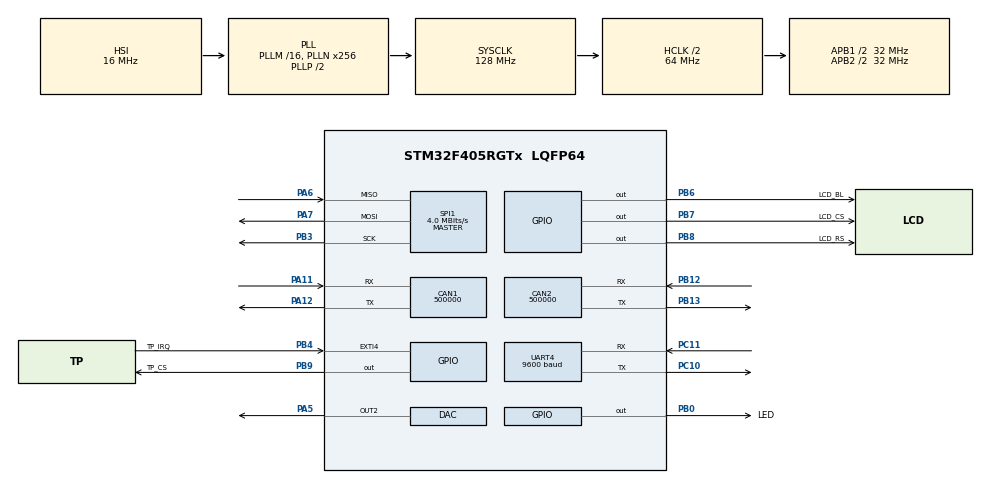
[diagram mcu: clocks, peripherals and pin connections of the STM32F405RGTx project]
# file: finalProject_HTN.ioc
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ADC1.Channel-0\#ChannelRegularConversion=ADC_CHANNEL_TEMPSENSOR
ADC1.NbrOfConversionFlag=1
ADC1.Rank-0\#ChannelRegularConversion=1
ADC1.SamplingTime-0\#ChannelRegularConversion=ADC_SAMPLETIME_480CYCLES
ADC1.master=1
CAN1.BS1=CAN_BS1_2TQ
CAN1.CalculateBaudRate=500000
CAN1.CalculateTimeBit=2000
CAN1.CalculateTimeQuantum=500.0
CAN2.BS1=CAN_BS1_2TQ
CAN2.CalculateBaudRate=500000
CAN2.CalculateTimeBit=2000
CAN2.CalculateTimeQuantum=500.0
FREERTOS.Tasks01=Task01_Display,24,512,StartTask01_Display,Default,NULL,Dynamic,NULL,NULL;Task02_Touch,24,256,StartTask02_Touch,Default,NULL,Dynamic,NULL,NULL;Task_LED,9,128,StartTask_LED,Default,NULL,Dynamic,NULL,NULL;Task_CAN,9,256,StartTask_CAN,Default,NULL,Dynamic,NULL,NULL;Task_DispCAN,9,256,StartTask_DispCAN,Default,NULL,Dynamic,NULL,NULL;Task_DAC,9,256,StartTask_DAC,Default,NULL,Dynamic,NULL,NULL
FREERTOS.configENABLE_FPU=1
FREERTOS.configUSE_TICKLESS_IDLE=2
Mcu.Family=STM32F4
Mcu.Name=STM32F405RGTx
Mcu.Package=LQFP64
NVIC.CAN1_RX0_IRQn=true\:5\:0\:false\:false\:true\:true\:true\:true\:true
NVIC.CAN1_RX1_IRQn=true\:5\:0\:false\:false\:true\:true\:true\:true\:true
NVIC.CAN1_TX_IRQn=true\:5\:0\:false\:false\:true\:true\:true\:true\:true
NVIC.CAN2_RX0_IRQn=true\:5\:0\:false\:false\:true\:true\:true\:true\:true
NVIC.CAN2_RX1_IRQn=true\:5\:0\:false\:false\:true\:true\:true\:true\:true
NVIC.CAN2_TX_IRQn=true\:5\:0\:false\:false\:true\:true\:true\:true\:true
NVIC.EXTI4_IRQn=true\:5\:0\:false\:false\:true\:true\:true\:true\:true
NVIC.PVD_IRQn=true\:5\:0\:false\:false\:true\:true\:true\:true\:true
NVIC.PriorityGroup=NVIC_PRIORITYGROUP_4
NVIC.TIM2_IRQn=true\:15\:0\:false\:false\:true\:false\:false\:true\:true
NVIC.TimeBase=TIM2_IRQn
NVIC.TimeBaseIP=TIM2
PA0-WKUP.Mode=SYS_WakeUp0
PA0-WKUP.Signal=SYS_WKUP
PA11.Mode=CAN_Activate
PA11.Signal=CAN1_RX
PA12.Mode=CAN_Activate
PA12.Signal=CAN1_TX
PA13.Mode=Serial_Wire
PA13.Signal=SYS_JTMS-SWDIO
PA14.Mode=Serial_Wire
PA14.Signal=SYS_JTCK-SWCLK
PA5.Signal=COMP_DAC2_group
PA6.Mode=Full_Duplex_Master
PA6.Signal=SPI1_MISO
PA7.Mode=Full_Duplex_Master
PA7.Signal=SPI1_MOSI
PB0.GPIO_Label=LED
PB0.GPIO_Speed=GPIO_SPEED_FREQ_MEDIUM
PB0.Signal=GPIO_Output
PB12.Mode=CAN_Activate
PB12.Signal=CAN2_RX
PB13.Mode=CAN_Activate
PB13.Signal=CAN2_TX
PB3.Mode=Full_Duplex_Master
PB3.Signal=SPI1_SCK
PB4.GPIO_Label=TP_IRQ
PB4.GPIO_ModeDefaultEXTI=GPIO_MODE_IT_FALLING
PB4.GPIO_PuPd=GPIO_PULLUP
PB4.Signal=GPXTI4
PB6.GPIO_Label=LCD_BL
PB6.GPIO_Speed=GPIO_SPEED_FREQ_MEDIUM
PB6.PinState=GPIO_PIN_SET
PB6.Signal=GPIO_Output
PB7.GPIO_Label=LCD_CS
PB7.GPIO_Speed=GPIO_SPEED_FREQ_VERY_HIGH
PB7.Signal=GPIO_Output
PB8.GPIO_Label=LCD_RS
PB8.GPIO_Speed=GPIO_SPEED_FREQ_VERY_HIGH
PB8.Signal=GPIO_Output
PB9.GPIO_Label=TP_CS
PB9.Signal=GPIO_Output
PC10.Mode=Asynchronous
PC10.Signal=UART4_TX
PC11.Mode=Asynchronous
PC11.Signal=UART4_RX
PH0-OSC_IN.Mode=HSE-External-Oscillator
PH0-OSC_IN.Signal=RCC_OSC_IN
PH1-OSC_OUT.Mode=HSE-External-Oscillator
PH1-OSC_OUT.Signal=RCC_OSC_OUT
ProjectManager.HeapSize=0x200
ProjectManager.StackSize=0x400
ProjectManager.TargetToolchain=STM32CubeIDE
RCC.48MHZClocksFreq_Value=64000000
RCC.AHBCLKDivider=RCC_SYSCLK_DIV2
RCC.AHBFreq_Value=64000000
RCC.APB1CLKDivider=RCC_HCLK_DIV2
RCC.APB1Freq_Value=32000000
RCC.APB1TimFreq_Value=64000000
RCC.APB2CLKDivider=RCC_HCLK_DIV2
RCC.APB2Freq_Value=32000000
RCC.APB2TimFreq_Value=64000000
RCC.CortexFreq_Value=64000000
RCC.HCLKFreq_Value=64000000
RCC.HSE_VALUE=25000000
RCC.HSI_VALUE=16000000
RCC.LSE_VALUE=32768
RCC.PLLN=256
RCC.SYSCLKFreq_VALUE=128000000
RCC.SYSCLKSource=RCC_SYSCLKSOURCE_PLLCLK
RCC.VCOOutputFreq_Value=256000000
SH.COMP_DAC2_group.0=DAC_OUT2,DAC_OUT2
SPI1.BaudRatePrescaler=SPI_BAUDRATEPRESCALER_8
SPI1.CLKPhase=SPI_PHASE_2EDGE
SPI1.CLKPolarity=SPI_POLARITY_HIGH
SPI1.CRCCalculation=SPI_CRCCALCULATION_DISABLE
SPI1.CalculateBaudRate=4.0 MBits/s
SPI1.Direction=SPI_DIRECTION_2LINES
SPI1.Mode=SPI_MODE_MASTER
SPI1.VirtualType=VM_MASTER
UART4.BaudRate=9600
UART4.VirtualMode=Asynchronous
VP_ADC1_TempSens_Input.Mode=IN-TempSens
VP_FREERTOS_VS_CMSIS_V2.Mode=CMSIS_V2
VP_SYS_VS_tim2.Mode=TIM2
board=custom

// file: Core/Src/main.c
/* USER CODE BEGIN Header */
/**
  ******************************************************************************
  * @file           : main.c
  * @brief          : Main program body
  ******************************************************************************
  * @attention
  *
  * Copyright (c) 2025 STMicroelectronics.
  * All rights reserved.
  *
  * This software is licensed under terms that can be found in the LICENSE file
  * in the root directory of this software component.
  * If no LICENSE file comes with this software, it is provided AS-IS.
  *
  ******************************************************************************
  */
/* USER CODE END Header */
#include "main.h"
#include "cmsis_os.h"

/* USER CODE BEGIN Includes */
#include "string.h"
#include "stdio.h"
#include "LCD_Driver.h"
#include <math.h>
#include "Touch.h"
#include <stdbool.h>

/* USER CODE END Includes */

/* USER CODE BEGIN PD */
// MADCTL options for ST7789:
#define SCREEN_W    240
#define SCREEN_H    320
#define ADC_MAX     4095

#define MADCTL_PORTRAIT        0x00
#define MADCTL_LANDSCAPE       0x60
#define MADCTL_INV_PORTRAIT    0xC0
#define MADCTL_INV_LANDSCAPE   0xA0

#define GROUP_ID "13" // define Group ID
// Button :[NEXT]
static uint16_t btnX = 80;
static uint16_t btnY = 250;
static uint16_t btnW = 80;
static uint16_t btnH = 40;
// zone : [Nhom 13]
#define GROUP_BOX_X   10
#define GROUP_BOX_Y   10
#define GROUP_BOX_W   145
#define GROUP_BOX_H   30

// Touch zone : task2-01
#define ZONE0_X1  20
#define ZONE0_Y1  50
#define ZONE_W    90
#define ZONE_H    70
// Touch zone : task2-02
#define ZONE1_X1  130
#define ZONE1_Y1  50
// Touch zone : task2-03
#define ZONE2_X1  20
#define ZONE2_Y1  140
// Touch zone : task2-04
#define ZONE3_X1  130
#define ZONE3_Y1  140

// button [BACK]
#define BACK_W   70
#define BACK_H   30
#define BACK_X   160
#define BACK_Y   280

//-------------------------------
//Debug touch
#define TOUCH_XFAC   (-0.070588f)
#define TOUCH_XOFF   (265)
#define TOUCH_YFAC   (-0.094117f)
#define TOUCH_YOFF   (355)
//DAC___TONE
#define NOTE_C4  262U
#define NOTE_D4  294U
#define NOTE_E4  330U
#define NOTE_F4  349U
#define NOTE_G4  392U
#define NOTE_A4  440U
#define NOTE_B4  494U
#define NOTE_C5  523U

/* USER CODE END PD */

ADC_HandleTypeDef hadc1;

CAN_HandleTypeDef hcan1;
CAN_HandleTypeDef hcan2;

DAC_HandleTypeDef hdac;

SPI_HandleTypeDef hspi1;

UART_HandleTypeDef huart4;

/* Definitions for Task01_Display */
osThreadId_t Task01_DisplayHandle;
const osThreadAttr_t Task01_Display_attributes = {
  .name = "Task01_Display",
  .stack_size = 512 * 4,
  .priority = (osPriority_t) osPriorityNormal,
};
/* Definitions for Task02_Touch */
osThreadId_t Task02_TouchHandle;
const osThreadAttr_t Task02_Touch_attributes = {
  .name = "Task02_Touch",
  .stack_size = 256 * 4,
  .priority = (osPriority_t) osPriorityNormal,
};
/* Definitions for Task_LED */
osThreadId_t Task_LEDHandle;
const osThreadAttr_t Task_LED_attributes = {
  .name = "Task_LED",
  .stack_size = 128 * 4,
  .priority = (osPriority_t) osPriorityLow1,
};
/* Definitions for Task_CAN */
osThreadId_t Task_CANHandle;
const osThreadAttr_t Task_CAN_attributes = {
  .name = "Task_CAN",
  .stack_size = 256 * 4,
  .priority = (osPriority_t) osPriorityLow1,
};
/* Definitions for Task_DispCAN */
osThreadId_t Task_DispCANHandle;
const osThreadAttr_t Task_DispCAN_attributes = {
  .name = "Task_DispCAN",
  .stack_size = 256 * 4,
  .priority = (osPriority_t) osPriorityLow1,
};
/* Definitions for Task_DAC */
osThreadId_t Task_DACHandle;
const osThreadAttr_t Task_DAC_attributes = {
  .name = "Task_DAC",
  .stack_size = 256 * 4,
  .priority = (osPriority_t) osPriorityLow1,
};
/* USER CODE BEGIN PV */

// ---------------------------------------------------------------------
//######################################################################

// Zone & FL AG  activation states (true=active)
static bool zoneActive[4] = {false,false,false,false};
static volatile bool prevBase = false;
static volatile bool prevMenu = false;
static volatile bool FLAG_Base = true;
static volatile bool FLAG_Menu = true;
static volatile bool FLAG_LED  = false;
static volatile bool FLAG_CAN  = false;
static volatile bool FLAG_Disp = false;
static volatile bool FLAG_DAC  = false;
static volatile bool WKUP	   = false;
static const char *zoneNames[4] = {
  "Task02-1","Task02-2","Task02-3","Task02-4"
};
static osThreadId_t zoneTaskHandles[4];
//######################################################################
// ---------------------------------------------------------------------

/* USER CODE END PV */

void SystemClock_Config(void);
static void MX_GPIO_Init(void);
static void MX_SPI1_Init(void);
static void MX_CAN1_Init(void);
static void MX_CAN2_Init(void);
static void MX_DAC_Init(void);
static void MX_UART4_Init(void);
static void MX_ADC1_Init(void);
void StartTask01_Display(void *argument);
void StartTask02_Touch(void *argument);
void StartTask_LED(void *argument);
void StartTask_CAN(void *argument);
void StartTask_DispCAN(void *argument);
void StartTask_DAC(void *argument);

/* USER CODE BEGIN PFP */
void ProcessMenuTouch(void);
void drawZones(void);
// Rotate LCD
void lcd_set_rotation(uint8_t mode)
{
    uint8_t val;
    switch(mode) {
        case 0: val = MADCTL_PORTRAIT;      break;
        case 1: val = MADCTL_LANDSCAPE;     break;
        case 2: val = MADCTL_INV_PORTRAIT;  break;
        case 3: val = MADCTL_INV_LANDSCAPE; break;
        default: val = MADCTL_PORTRAIT;
    }
    lcd_write_command(0x36, val);
}
/* USER CODE END PFP */

/* USER CODE BEGIN 0 */
// -----------LCD Display ------------------------------------------
//######################################################################
void Draw_BaseScreen(void)
{
/*
 * sketch BaseMenu
┌──────────────────────────────────────────────┐
│                                              │
│       DO AN: HE THONG NHUNG                  │  Font1608, background : WHITE
│                                              │
│             Nhom: 13                         │
│                                              │
├──────────────────────────────────────────────┤
│                                              │
│   Thanh vien:                                │
│                                              │
│   Vo Thanh Nhan   22200114                   │
│   Le Tien Thang   22200144                   │
│   Lam Minh Quan   22200131                   │
│                                              │
├──────────────────────────────────────────────┤
│                                              │
│            Press NEXT to continue...         │
│                                              │
│              ┌───────────────┐               │
│              │    NEXT       │               │
│              └───────────────┘               │
│                                              │
└──────────────────────────────────────────────┘
 * */

    lcd_clear_screen(0xFFFF);    // Clear entire screen to white
    lcd_display_string(30, 30, (uint8_t *)"DO AN: TH HE THONG NHUNG", FONT_1608, 0x001F);
    lcd_display_string(88, 56, (uint8_t *)"Nhom: 13", FONT_1608, 0x001F);
    lcd_draw_h_line(0, 82, SCREEN_W, 0x001F);
    lcd_display_string(20, 92, (uint8_t *)"Thanh vien:", FONT_1608, 0x001F);
    lcd_display_string(20, 112, (uint8_t *)"Vo Thanh Nhan   22200114", FONT_1608, 0x001F);
    lcd_display_string(20, 132, (uint8_t *)"Le Tien Thang   22200144", FONT_1608, 0x001F);
    lcd_display_string(20, 152, (uint8_t *)"Lam Minh Quan   22200131", FONT_1608, 0x001F);
    lcd_draw_h_line(0, 178, SCREEN_W, 0x001F);
    lcd_display_string(20, 200, (uint8_t *)"Nhan [NEXT] de tiep tuc...", FONT_1608, 0x001F);

    //Draw NEXT button centered at bottom
    const uint16_t btnX = 80;
    const uint16_t btnY = 250;
    const uint16_t btnW = 80;
    const uint16_t btnH = 40;
    // Draw blue border for NEXT box
    lcd_draw_rect(btnX, btnY, btnW, btnH, 0x001F);
    lcd_display_string(104, 262, (uint8_t *)"NEXT", FONT_1608, 0x001F);
}
void ShowMainMenu(void)
{
/* sketch Main Menu
┌────────────────────────────────────────┐
│            MAIN MENU                   │
│                                        │
│   ┌──────────────┐  ┌──────────────┐   │
│   │  Task 02-1   │  │  Task 02-2   │   │
│   └──────────────┘  └──────────────┘   │
│                                        │
│   ┌──────────────┐  ┌──────────────┐   │
│   │  Task 02-3   │  │  Task 02-4   │   │
│   └──────────────┘  └──────────────┘   │
│                                        │
│                          ┌──────────┐  │
│                          │   BACK   │  │
│                          └──────────┘  │
└────────────────────────────────────────┘

 * */
    // 1) Clear background
    lcd_clear_screen(BLUE);

    // 2) Draw group info box
    lcd_fill_rect(GROUP_BOX_X, GROUP_BOX_Y,
                  GROUP_BOX_W, GROUP_BOX_H,
                  WHITE);
    lcd_display_string(GROUP_BOX_X + 5,
                       GROUP_BOX_Y + 8,
                       (uint8_t *)" Nhom: [nhom 13]",
                       FONT_1608,
                       BLACK);

    // 3) Draw Zone 0 (LED task)
    if (FLAG_LED)
        lcd_fill_rect(ZONE0_X1, ZONE0_Y1, ZONE_W, ZONE_H, GREEN);
    else
        lcd_fill_rect(ZONE0_X1, ZONE0_Y1, ZONE_W, ZONE_H, WHITE);
    lcd_display_string(ZONE0_X1 + 10,
                       ZONE0_Y1 + 25,
                       (uint8_t *)"Task 02-1",
                       FONT_1608,
                       FLAG_LED ? WHITE : BLACK);

    // 4) Draw Zone 1 (CAN task)
    if (FLAG_CAN)
        lcd_fill_rect(ZONE1_X1, ZONE1_Y1, ZONE_W, ZONE_H, GREEN);
    else
        lcd_fill_rect(ZONE1_X1, ZONE1_Y1, ZONE_W, ZONE_H, WHITE);
    lcd_display_string(ZONE1_X1 + 10,
                       ZONE1_Y1 + 25,
                       (uint8_t *)"Task 02-2",
                       FONT_1608,
                       FLAG_CAN ? WHITE : BLACK);

    // 5) Draw Zone 2 (Disp CAN task)
    if (FLAG_Disp)
        lcd_fill_rect(ZONE2_X1, ZONE2_Y1, ZONE_W, ZONE_H, GREEN);
    else
        lcd_fill_rect(ZONE2_X1, ZONE2_Y1, ZONE_W, ZONE_H, WHITE);
    lcd_display_string(ZONE2_X1 + 10,
                       ZONE2_Y1 + 25,
                       (uint8_t *)"Task 02-3",
                       FONT_1608,
                       FLAG_Disp ? WHITE : BLACK);

    // 6) Draw Zone 3 (DAC task)
    if (FLAG_DAC)
        lcd_fill_rect(ZONE3_X1, ZONE3_Y1, ZONE_W, ZONE_H, GREEN);
    else
        lcd_fill_rect(ZONE3_X1, ZONE3_Y1, ZONE_W, ZONE_H, WHITE);
    lcd_display_string(ZONE3_X1 + 10,
                       ZONE3_Y1 + 25,
                       (uint8_t *)"Task 02-4",
                       FONT_1608,
                       FLAG_DAC ? WHITE : BLACK);

    // 7) Draw Back button
    lcd_fill_rect(BACK_X, BACK_Y, BACK_W, BACK_H, WHITE);
    lcd_display_string(BACK_X + 10,
                       BACK_Y + 8,
                       (uint8_t *)"[Back]",
                       FONT_1608,
                       BLACK);

    // Delay to allow other tasks to run
    osDelay(1);
}

void Draw_Task02_3_Screen(const uint8_t *buf)
{
    char text[32];
    uint8_t groupId = buf[0];
    float temperature;
    memcpy(&temperature, &buf[1], sizeof(float));
    // Clear screen to white
    lcd_clear_screen(0xFFFF);
    lcd_display_string(60, 10, (uint8_t *)"TASK 02-3", FONT_1608, 0x0000);
    lcd_draw_rect(20, 50, 200, 150, 0x001F);  // Blue border
    snprintf(text, sizeof(text), "Nhom: %02d", groupId);
    lcd_display_string(30, 75, (uint8_t *)text, FONT_1608, 0x001F);
    snprintf(text, sizeof(text), "Temp: %.1f C", temperature);
    lcd_display_string(30, 110, (uint8_t *)text, FONT_1608, 0x001F);
    lcd_display_string(40, 220, (uint8_t *)"(3 s) Returning...", FONT_1608, 0x7BEF);
}

//######################################################################
// ---------------------------------------------------------------------

// -----------Touch Processor ------------------------------------------
//######################################################################
void UpdateZoneDisplay(uint8_t idx,uint16_t x, uint16_t y, const char *label, volatile bool *flagPtr)
{
    // Set the flag based on zoneActive[idx]
    *flagPtr = zoneActive[idx];
    // Fill the zone rectangle: green if active, white if not
    lcd_fill_rect(x, y, ZONE_W, ZONE_H, zoneActive[idx] ? GREEN : WHITE);
    uint16_t fg = zoneActive[idx] ? WHITE : BLACK;
    lcd_display_string(x + 10, y + 25, (uint8_t *)label, FONT_1608, fg);
}

void toggleZone(uint8_t idx)
{
    if (idx>=4) return;
    zoneActive[idx] = !zoneActive[idx];
    switch (idx)
    {
        case 0:
            UpdateZoneDisplay(0, ZONE0_X1, ZONE0_Y1, "Task 02-1", &FLAG_LED);

            break;
        case 1:
            UpdateZoneDisplay(1, ZONE1_X1, ZONE1_Y1, "Task 02-2", &FLAG_CAN);
            break;
        case 2:
            UpdateZoneDisplay(2, ZONE2_X1, ZONE2_Y1, "Task 02-3", &FLAG_Disp);
            break;
        case 3:
            UpdateZoneDisplay(3, ZONE3_X1, ZONE3_Y1, "Task 02-4", &FLAG_DAC);
            break;
        default:
            break;
    }

    // debug UART
    char msg[64];
    int len = snprintf(msg,sizeof(msg),"%s %s\r\n",zoneNames[idx], zoneActive[idx]?"ON":"OFF");
    HAL_UART_Transmit(&huart4,(uint8_t*)msg,len,HAL_MAX_DELAY);
}
void ProcessMenuTouch(void);

//######################################################################
// ---------------------------------------------------------------------

// -----------Chip's Temperature----------------------------------------
//######################################################################
uint16_t readInternalTempRaw(void){ // Read ADC
  HAL_ADC_Start(&hadc1);
  HAL_ADC_PollForConversion(&hadc1, HAL_MAX_DELAY);
  uint16_t raw = HAL_ADC_GetValue(&hadc1);
  HAL_ADC_Stop(&hadc1);
  return raw;
}
float getChipTemperature(void){ //converting adc to temp
  uint16_t raw = readInternalTempRaw();
  uint16_t cal30  = * (uint16_t*)0x1FFF7A2C;
  uint16_t cal110 = * (uint16_t*)0x1FFF7A2E;
  return ((float)(raw - cal30) * 80.0f) / (float)(cal110 - cal30) + 30.0f;
}
//######################################################################
// ---------------------------------------------------------------------

// -----------CAN Protocol ---------------------------------------------
//######################################################################
uint8_t lastCanBuf[8];
int    lastCanLen;

void storeLastCan(uint8_t *buf,int len){
  memcpy(lastCanBuf,buf,len);
  lastCanLen = len;
}
void getLastCan(uint8_t *buf,int *len){
  memcpy(buf,lastCanBuf,lastCanLen);
  *len = lastCanLen;
}

uint16_t readInternalTemp(void){
  HAL_ADC_Start(&hadc1);
  HAL_ADC_PollForConversion(&hadc1,10);
  return HAL_ADC_GetValue(&hadc1);
}
//######################################################################
// ---------------------------------------------------------------------

//######################################################################
// ---------------------------------------------------------------------

// ------------Install the tone for the DAC-----------------------------
//######################################################################

static void DWT_Delay_Init(void)
{
    // Enable DWT counter for microsecond delays
    if (!(CoreDebug->DEMCR & CoreDebug_DEMCR_TRCENA_Msk))
        CoreDebug->DEMCR |= CoreDebug_DEMCR_TRCENA_Msk;
    DWT->CYCCNT = 0;
    DWT->CTRL   |= DWT_CTRL_CYCCNTENA_Msk;
}

static void DWT_Delay_us(uint32_t microseconds)
{
    // Busy‐wait for the specified number of microseconds
    uint32_t start  = DWT->CYCCNT;
    uint32_t cycles = (SystemCoreClock / 1000000U) * microseconds;
    while ((DWT->CYCCNT - start) < cycles);
}

static void playToneDAC(uint16_t noteFreq, uint32_t durationMs)
{
    // Generate a square wave on DAC1 channel 2 (PA5) at the specified frequency
    if (noteFreq == 0)
    {
        // Silence if frequency is zero
        HAL_DAC_SetValue(&hdac, DAC_CHANNEL_2, DAC_ALIGN_12B_R, 0);
        return;
    }

    // Calculate half‐period in microseconds
    uint32_t half_us = 500000U / noteFreq;
    uint32_t t0      = HAL_GetTick();
    uint32_t elapsed = 0;

    while (elapsed < durationMs)
    {
        HAL_DAC_SetValue(&hdac, DAC_CHANNEL_2, DAC_ALIGN_12B_R, 4095);
        DWT_Delay_us(half_us);

        HAL_DAC_SetValue(&hdac, DAC_CHANNEL_2, DAC_ALIGN_12B_R, 0);
        DWT_Delay_us(half_us);

        elapsed = HAL_GetTick() - t0;
        if (elapsed >= durationMs) break;
    }

    // Ensure DAC output is low at the end
    HAL_DAC_SetValue(&hdac, DAC_CHANNEL_2, DAC_ALIGN_12B_R, 0);
}

static void sleepMode_init(void)
{
    HAL_SuspendTick();                         // pause HAL tick

    SysTick->CTRL &= ~SysTick_CTRL_ENABLE_Msk; // stop SysTick
    NVIC_DisableIRQ(SysTick_IRQn);

    // disable unused IRQs
    NVIC_DisableIRQ(CAN1_RX0_IRQn);
    NVIC_DisableIRQ(CAN2_RX0_IRQn);
    NVIC_DisableIRQ(DMA1_Stream1_IRQn);
    NVIC_DisableIRQ(UART4_IRQn);

    __HAL_GPIO_EXTI_CLEAR_IT(GPIO_PIN_4);      // clear PB4 EXTI flag

    // disable CAN interrupts
    HAL_CAN_DeactivateNotification(&hcan1, CAN_IT_RX_FIFO0_MSG_PENDING);
    HAL_CAN_DeactivateNotification(&hcan2, CAN_IT_RX_FIFO0_MSG_PENDING);

    // drain CAN2 FIFO0
    {
        CAN_RxHeaderTypeDef tmpHdr;
        uint8_t tmpBuf[8];
        while (HAL_CAN_GetRxFifoFillLevel(&hcan2, CAN_RX_FIFO0) > 0) {
            HAL_CAN_GetRxMessage(&hcan2, CAN_RX_FIFO0, &tmpHdr, tmpBuf);
        }
    }

    __disable_irq();
    HAL_PWR_EnterSLEEPMode(PWR_MAINREGULATOR_ON, PWR_SLEEPENTRY_WFI);
    __enable_irq();

    // wake-up: restore ticks and IRQs
    SysTick->CTRL |= SysTick_CTRL_ENABLE_Msk;
    NVIC_EnableIRQ(SysTick_IRQn);
    HAL_ResumeTick();

    NVIC_EnableIRQ(CAN1_RX0_IRQn);
    NVIC_EnableIRQ(CAN2_RX0_IRQn);
    NVIC_EnableIRQ(DMA1_Stream1_IRQn);
    NVIC_EnableIRQ(UART4_IRQn);

    HAL_CAN_ActivateNotification(&hcan1, CAN_IT_RX_FIFO0_MSG_PENDING);
    HAL_CAN_ActivateNotification(&hcan2, CAN_IT_RX_FIFO0_MSG_PENDING);

    WKUP = 1;
}

//######################################################################
// ---------------------------------------------------------------------
/* USER CODE END 0 */

int main(void)
{

  /* USER CODE BEGIN 1 */
	//uint8_t count = 0;
  /* USER CODE END 1 */

  /* MCU Configuration--------------------------------------------------------*/

  /* Reset of all peripherals, Initializes the Flash interface and the Systick. */
  HAL_Init();

  /* Configure the system clock */
  SystemClock_Config();

  /* Initialize all configured peripherals */
  MX_GPIO_Init();
  MX_SPI1_Init();
  MX_CAN1_Init();
  MX_CAN2_Init();
  MX_DAC_Init();
  MX_UART4_Init();
  MX_ADC1_Init();
  /* USER CODE BEGIN 2 */
  lcd_init();
  tp_init();
  tp_adjust();
  tp_dialog();
  lcd_set_rotation(2);

  FLAG_Base = true;// Ensure Base screen shows first
  FLAG_Menu = false;

  const char msg[] = "Project Start: \r\n";    // Send "project start" via UART for testing
  HAL_UART_Transmit(&huart4, (uint8_t*)msg, strlen(msg), HAL_MAX_DELAY);
  /* USER CODE END 2 */

  /* Init scheduler */
  osKernelInitialize();

  /* Create the thread(s) */
  /* creation of Task01_Display */
  Task01_DisplayHandle = osThreadNew(StartTask01_Display, NULL, &Task01_Display_attributes);

  /* creation of Task02_Touch */
  Task02_TouchHandle = osThreadNew(StartTask02_Touch, NULL, &Task02_Touch_attributes);

  /* creation of Task_LED */
  Task_LEDHandle = osThreadNew(StartTask_LED, NULL, &Task_LED_attributes);

  /* creation of Task_CAN */
  Task_CANHandle = osThreadNew(StartTask_CAN, NULL, &Task_CAN_attributes);

  /* creation of Task_DispCAN */
  Task_DispCANHandle = osThreadNew(StartTask_DispCAN, NULL, &Task_DispCAN_attributes);

  /* creation of Task_DAC */
  Task_DACHandle = osThreadNew(StartTask_DAC, NULL, &Task_DAC_attributes);

  /* Start scheduler */
  osKernelStart();

  /* We should never get here as control is now taken by the scheduler */

  /* Infinite loop */
  while (1)
  {

  }
}

void SystemClock_Config(void)
{
  RCC_OscInitTypeDef RCC_OscInitStruct = {0};
  RCC_ClkInitTypeDef RCC_ClkInitStruct = {0};

  /** Configure the main internal regulator output voltage
  */
  __HAL_RCC_PWR_CLK_ENABLE();
  __HAL_PWR_VOLTAGESCALING_CONFIG(PWR_REGULATOR_VOLTAGE_SCALE1);

  /** Initializes the RCC Oscillators according to the specified parameters
  * in the RCC_OscInitTypeDef structure.
  */
  RCC_OscInitStruct.OscillatorType = RCC_OSCILLATORTYPE_HSI;
  RCC_OscInitStruct.HSIState = RCC_HSI_ON;
  RCC_OscInitStruct.HSICalibrationValue = RCC_HSICALIBRATION_DEFAULT;
  RCC_OscInitStruct.PLL.PLLState = RCC_PLL_ON;
  RCC_OscInitStruct.PLL.PLLSource = RCC_PLLSOURCE_HSI;
  RCC_OscInitStruct.PLL.PLLM = 16;
  RCC_OscInitStruct.PLL.PLLN = 256;
  RCC_OscInitStruct.PLL.PLLP = RCC_PLLP_DIV2;
  RCC_OscInitStruct.PLL.PLLQ = 4;
  if (HAL_RCC_OscConfig(&RCC_OscInitStruct) != HAL_OK)
  {
    Error_Handler();
  }

  /** Initializes the CPU, AHB and APB buses clocks
  */
  RCC_ClkInitStruct.ClockType = RCC_CLOCKTYPE_HCLK|RCC_CLOCKTYPE_SYSCLK
                              |RCC_CLOCKTYPE_PCLK1|RCC_CLOCKTYPE_PCLK2;
  RCC_ClkInitStruct.SYSCLKSource = RCC_SYSCLKSOURCE_PLLCLK;
  RCC_ClkInitStruct.AHBCLKDivider = RCC_SYSCLK_DIV2;
  RCC_ClkInitStruct.APB1CLKDivider = RCC_HCLK_DIV2;
  RCC_ClkInitStruct.APB2CLKDivider = RCC_HCLK_DIV2;

  if (HAL_RCC_ClockConfig(&RCC_ClkInitStruct, FLASH_LATENCY_2) != HAL_OK)
  {
    Error_Handler();
  }
}

static void MX_ADC1_Init(void)
{

  ADC_ChannelConfTypeDef sConfig = {0};

  /** Configure the global features of the ADC (Clock, Resolution, Data Alignment and number of conversion)
  */
  hadc1.Instance = ADC1;
  hadc1.Init.ClockPrescaler = ADC_CLOCK_SYNC_PCLK_DIV2;
  hadc1.Init.Resolution = ADC_RESOLUTION_12B;
  hadc1.Init.ScanConvMode = DISABLE;
  hadc1.Init.ContinuousConvMode = DISABLE;
  hadc1.Init.DiscontinuousConvMode = DISABLE;
  hadc1.Init.ExternalTrigConvEdge = ADC_EXTERNALTRIGCONVEDGE_NONE;
  hadc1.Init.ExternalTrigConv = ADC_SOFTWARE_START;
  hadc1.Init.DataAlign = ADC_DATAALIGN_RIGHT;
  hadc1.Init.NbrOfConversion = 1;
  hadc1.Init.DMAContinuousRequests = DISABLE;
  hadc1.Init.EOCSelection = ADC_EOC_SINGLE_CONV;
  if (HAL_ADC_Init(&hadc1) != HAL_OK)
  {
    Error_Handler();
  }

  /** Configure for the selected ADC regular channel its corresponding rank in the sequencer and its sample time.
  */
  sConfig.Channel = ADC_CHANNEL_TEMPSENSOR;
  sConfig.Rank = 1;
  sConfig.SamplingTime = ADC_SAMPLETIME_480CYCLES;
  if (HAL_ADC_ConfigChannel(&hadc1, &sConfig) != HAL_OK)
  {
    Error_Handler();
  }

}

static void MX_CAN1_Init(void)
{

  hcan1.Instance = CAN1;
  hcan1.Init.Prescaler = 16;
  hcan1.Init.Mode = CAN_MODE_NORMAL;
  hcan1.Init.SyncJumpWidth = CAN_SJW_1TQ;
  hcan1.Init.TimeSeg1 = CAN_BS1_2TQ;
  hcan1.Init.TimeSeg2 = CAN_BS2_1TQ;
  hcan1.Init.TimeTriggeredMode = DISABLE;
  hcan1.Init.AutoBusOff = DISABLE;
  hcan1.Init.AutoWakeUp = DISABLE;
  hcan1.Init.AutoRetransmission = DISABLE;
  hcan1.Init.ReceiveFifoLocked = DISABLE;
  hcan1.Init.TransmitFifoPriority = DISABLE;
  if (HAL_CAN_Init(&hcan1) != HAL_OK)
  {
    Error_Handler();
  }
  /* USER CODE BEGIN CAN1_Init 2 */
  CAN_FilterTypeDef filt = {
    .FilterBank           = 0,
    .FilterMode           = CAN_FILTERMODE_IDMASK,
    .FilterScale          = CAN_FILTERSCALE_32BIT,
    .FilterIdHigh         = 0x0000,
    .FilterIdLow          = 0x0000,
    .FilterMaskIdHigh     = 0x0000,
    .FilterMaskIdLow      = 0x0000,
    .FilterFIFOAssignment = CAN_FILTER_FIFO0,
    .FilterActivation     = CAN_FILTER_ENABLE,
  };
  if (HAL_CAN_ConfigFilter(&hcan1, &filt) != HAL_OK) {
    Error_Handler();
  }

  // 2) Bắt đầu CAN1
  if (HAL_CAN_Start(&hcan1) != HAL_OK) {
    Error_Handler();
  }

  // 3) Kích hoạt interrupt khi có message pending
  if (HAL_CAN_ActivateNotification(&hcan1, CAN_IT_RX_FIFO0_MSG_PENDING) != HAL_OK) {
    Error_Handler();
  }
  /* USER CODE END CAN1_Init 2 */

}

static void MX_CAN2_Init(void)
{

  hcan2.Instance = CAN2;
  hcan2.Init.Prescaler = 16;
  hcan2.Init.Mode = CAN_MODE_NORMAL;
  hcan2.Init.SyncJumpWidth = CAN_SJW_1TQ;
  hcan2.Init.TimeSeg1 = CAN_BS1_2TQ;
  hcan2.Init.TimeSeg2 = CAN_BS2_1TQ;
  hcan2.Init.TimeTriggeredMode = DISABLE;
  hcan2.Init.AutoBusOff = DISABLE;
  hcan2.Init.AutoWakeUp = DISABLE;
  hcan2.Init.AutoRetransmission = DISABLE;
  hcan2.Init.ReceiveFifoLocked = DISABLE;
  hcan2.Init.TransmitFifoPriority = DISABLE;
  if (HAL_CAN_Init(&hcan2) != HAL_OK)
  {
    Error_Handler();
  }
  /* USER CODE BEGIN CAN2_Init 2 */

  CAN_FilterTypeDef filt = {
    .FilterBank           = 14,
    .FilterMode           = CAN_FILTERMODE_IDMASK,
    .FilterScale          = CAN_FILTERSCALE_32BIT,
    .FilterIdHigh         = 0x0000,
    .FilterIdLow          = 0x0000,
    .FilterMaskIdHigh     = 0x0000,
    .FilterMaskIdLow      = 0x0000,
    .FilterFIFOAssignment = CAN_FILTER_FIFO0,
    .FilterActivation     = CAN_FILTER_ENABLE,
  };
  if (HAL_CAN_ConfigFilter(&hcan2, &filt) != HAL_OK) {
    Error_Handler();
  }

  // 3) Bắt đầu CAN2
  if (HAL_CAN_Start(&hcan2) != HAL_OK) {
    Error_Handler();
  }

  // 4) Kích hoạt interrupt để callback khi có message pending
  if (HAL_CAN_ActivateNotification(&hcan2, CAN_IT_RX_FIFO0_MSG_PENDING) != HAL_OK) {
    Error_Handler();
  }
  /* USER CODE END CAN2_Init 2 */

}

static void MX_DAC_Init(void)
{

  DAC_ChannelConfTypeDef sConfig = {0};

  /** DAC Initialization
  */
  hdac.Instance = DAC;
  if (HAL_DAC_Init(&hdac) != HAL_OK)
  {
    Error_Handler();
  }

  /** DAC channel OUT2 config
  */
  sConfig.DAC_Trigger = DAC_TRIGGER_NONE;
  sConfig.DAC_OutputBuffer = DAC_OUTPUTBUFFER_ENABLE;
  if (HAL_DAC_ConfigChannel(&hdac, &sConfig, DAC_CHANNEL_2) != HAL_OK)
  {
    Error_Handler();
  }

}

static void MX_SPI1_Init(void)
{

  /* SPI1 parameter configuration*/
  hspi1.Instance = SPI1;
  hspi1.Init.Mode = SPI_MODE_MASTER;
  hspi1.Init.Direction = SPI_DIRECTION_2LINES;
  hspi1.Init.DataSize = SPI_DATASIZE_8BIT;
  hspi1.Init.CLKPolarity = SPI_POLARITY_HIGH;
  hspi1.Init.CLKPhase = SPI_PHASE_2EDGE;
  hspi1.Init.NSS = SPI_NSS_SOFT;
  hspi1.Init.BaudRatePrescaler = SPI_BAUDRATEPRESCALER_8;
  hspi1.Init.FirstBit = SPI_FIRSTBIT_MSB;
  hspi1.Init.TIMode = SPI_TIMODE_DISABLE;
  hspi1.Init.CRCCalculation = SPI_CRCCALCULATION_DISABLE;
  hspi1.Init.CRCPolynomial = 10;
  if (HAL_SPI_Init(&hspi1) != HAL_OK)
  {
    Error_Handler();
  }

}

static void MX_UART4_Init(void)
{

  huart4.Instance = UART4;
  huart4.Init.BaudRate = 9600;
  huart4.Init.WordLength = UART_WORDLENGTH_8B;
  huart4.Init.StopBits = UART_STOPBITS_1;
  huart4.Init.Parity = UART_PARITY_NONE;
  huart4.Init.Mode = UART_MODE_TX_RX;
  huart4.Init.HwFlowCtl = UART_HWCONTROL_NONE;
  huart4.Init.OverSampling = UART_OVERSAMPLING_16;
  if (HAL_UART_Init(&huart4) != HAL_OK)
  {
    Error_Handler();
  }

}

static void MX_GPIO_Init(void)
{
  GPIO_InitTypeDef GPIO_InitStruct = {0};

  /* GPIO Ports Clock Enable */
  __HAL_RCC_GPIOH_CLK_ENABLE();
  __HAL_RCC_GPIOA_CLK_ENABLE();
  __HAL_RCC_GPIOB_CLK_ENABLE();
  __HAL_RCC_GPIOC_CLK_ENABLE();

  /*Configure GPIO pin Output Level */
  HAL_GPIO_WritePin(GPIOB, LED_Pin|LCD_CS_Pin|LCD_RS_Pin|TP_CS_Pin, GPIO_PIN_RESET);

  /*Configure GPIO pin Output Level */
  HAL_GPIO_WritePin(LCD_BL_GPIO_Port, LCD_BL_Pin, GPIO_PIN_SET);

  /*Configure GPIO pins : LED_Pin LCD_BL_Pin */
  GPIO_InitStruct.Pin = LED_Pin|LCD_BL_Pin;
  GPIO_InitStruct.Mode = GPIO_MODE_OUTPUT_PP;
  GPIO_InitStruct.Pull = GPIO_NOPULL;
  GPIO_InitStruct.Speed = GPIO_SPEED_FREQ_MEDIUM;
  HAL_GPIO_Init(GPIOB, &GPIO_InitStruct);

  /*Configure GPIO pin : TP_IRQ_Pin */
  GPIO_InitStruct.Pin = TP_IRQ_Pin;
  GPIO_InitStruct.Mode = GPIO_MODE_IT_FALLING;
  GPIO_InitStruct.Pull = GPIO_PULLUP;
  HAL_GPIO_Init(TP_IRQ_GPIO_Port, &GPIO_InitStruct);

  /*Configure GPIO pins : LCD_CS_Pin LCD_RS_Pin */
  GPIO_InitStruct.Pin = LCD_CS_Pin|LCD_RS_Pin;
  GPIO_InitStruct.Mode = GPIO_MODE_OUTPUT_PP;
  GPIO_InitStruct.Pull = GPIO_NOPULL;
  GPIO_InitStruct.Speed = GPIO_SPEED_FREQ_VERY_HIGH;
  HAL_GPIO_Init(GPIOB, &GPIO_InitStruct);

  /*Configure GPIO pin : TP_CS_Pin */
  GPIO_InitStruct.Pin = TP_CS_Pin;
  GPIO_InitStruct.Mode = GPIO_MODE_OUTPUT_PP;
  GPIO_InitStruct.Pull = GPIO_NOPULL;
  GPIO_InitStruct.Speed = GPIO_SPEED_FREQ_LOW;
  HAL_GPIO_Init(TP_CS_GPIO_Port, &GPIO_InitStruct);

  /* EXTI interrupt init*/
  HAL_NVIC_SetPriority(EXTI4_IRQn, 5, 0);
  HAL_NVIC_EnableIRQ(EXTI4_IRQn);

}

/* USER CODE BEGIN 4 */
void HAL_GPIO_EXTI_Callback(uint16_t GPIO_Pin)
{
	if (GPIO_Pin == GPIO_PIN_4);
}

void HAL_CAN_RxFifo0MsgPendingCallback(CAN_HandleTypeDef *hcan)
{
    if (hcan->Instance == CAN2)
    {
        CAN_RxHeaderTypeDef rxHdr;
        uint8_t rxData[8];
        char uartBuf[64];
        float tempC;
        uint8_t groupId;
        int msgLen;

        // Fetch the received CAN message from FIFO0
        if (HAL_CAN_GetRxMessage(&hcan2, CAN_RX_FIFO0, &rxHdr, rxData) != HAL_OK)
        {
            return; // error reading
        }

        //  Only accept frames with StdId = 0x321 and DLC >= 5
        if ((rxHdr.StdId == 0x321) && (rxHdr.DLC >= 5))
        {
            //  Store 5 bytes (group + float) for Task02-3
            storeLastCan(rxData, 5);

            // Parse group ID (1st byte) and temperature (next 4 bytes)
            groupId = rxData[0];
            memcpy(&tempC, &rxData[1], sizeof(float));

            //  Send formatted string over UART4
            msgLen = snprintf(uartBuf, sizeof(uartBuf),
                              "Nhom: %02d, Temp: %.1f C\r\n",
                              groupId, tempC);
            HAL_UART_Transmit(&huart4, (uint8_t *)uartBuf, msgLen, HAL_MAX_DELAY);
        }
    }
}

static void ScaleTouch(uint16_t raw_x, uint16_t raw_y,
                       uint16_t *px,  uint16_t *py)
{
    *px =  raw_y* (SCREEN_W  - 1) / ADC_MAX;
    *py = raw_x * (SCREEN_H - 1) / ADC_MAX;
}

void ProcessMenuTouch(void)
{
    static bool lock = false;
    uint16_t raw_x, raw_y, x, y;

    if (tp_scan(0))
    {
        xpt2046_read_xy(&raw_x, &raw_y);
        ScaleTouch(raw_x, raw_y, &x, &y);

        if (!lock)
        {
            lock = true;

            // If Base screen is showing, check for NEXT button tap
            if (FLAG_Base)
            {
                if (x >= btnX && x < btnX + btnW &&
                    y >= btnY && y < btnY + btnH)
                {
                    FLAG_Base = false;
                    FLAG_Menu = true;
                    // The Display task will notice FLAG_Menu and draw Main menu.
                    return;
                }
            }
            else if(WKUP){
                toggleZone(3);
            	WKUP = 0;
            }
            // If Main menu is showing, check for BACK button tap
            else if (FLAG_Menu)
            {
                if (x >= BACK_X && x < BACK_X + BACK_W &&
                    y >= BACK_Y && y < BACK_Y + BACK_H)
                {
                    FLAG_Menu = false;
                    FLAG_Base = true;
                    // The Display task will notice FLAG_Base and redraw Base screen.
                    return;
                }

                //Otherwise still in Main menu: check the four Task-zones
                if (x >= ZONE0_X1 && x < ZONE0_X1 + ZONE_W &&
                    y >= ZONE0_Y1 && y < ZONE0_Y1 + ZONE_H)
                {
                    toggleZone(0);
                }
                else if (x >= ZONE1_X1 && x < ZONE1_X1 + ZONE_W &&
                         y >= ZONE1_Y1 && y < ZONE1_Y1 + ZONE_H)
                {
                    toggleZone(1);
                }
                else if (x >= ZONE2_X1 && x < ZONE2_X1 + ZONE_W &&
                         y >= ZONE2_Y1 && y < ZONE2_Y1 + ZONE_H)
                {
                    toggleZone(2);
                }
                else if (x >= ZONE3_X1 && x < ZONE3_X1 + ZONE_W &&
                         y >= ZONE3_Y1 && y < ZONE3_Y1 + ZONE_H)
                {
                    toggleZone(3);
                }
            }
        }
    }
    else
    {
        lock = false;
    }
}
//static void DebugTouch(void)
//{
//    uint16_t raw_x, raw_y;
//    char buf[80];
//
//    // Nếu đang chạm
//    if (tp_scan(0))
//    {
//        // 1) Đọc giá trị ADC thô
//        xpt2046_read_xy(&raw_x, &raw_y);
//
//        // 2) Tính tọa độ đã hiệu chỉnh
//        int16_t cal_x = (int16_t)(TOUCH_XFAC * raw_y + TOUCH_XOFF);
//        int16_t cal_y = (int16_t)(TOUCH_YFAC * raw_x + TOUCH_YOFF);
//
//        // 3) In ra UART: raw và calibrated
//        int len = snprintf(buf, sizeof(buf),
//            "rawX=%u rawY=%u => calX=%d calY=%d\r\n",
//            raw_x, raw_y, cal_x, cal_y);
//        HAL_UART_Transmit(&huart4, (uint8_t*)buf, len, HAL_MAX_DELAY);
//
//        // Chờ chút để nhìn rõ trên terminal
//        osDelay(200);
//    }
//}

/* USER CODE END 4 */

void StartTask01_Display(void *argument)
{
  /* USER CODE BEGIN 5 */
  /* Infinite loop */
	const char msg[] = "StartTask01_Display \r\n";
	HAL_UART_Transmit(&huart4, (uint8_t*)msg, strlen(msg), HAL_MAX_DELAY);
    FLAG_Menu = false;
    FLAG_Base = true;

    while (1)
    {
        // If Base-screen flag just got set, draw Base screen once
        if (FLAG_Base && !prevBase)
        {
            Draw_BaseScreen();
            prevBase = true;
            prevMenu = false;
        }

        // If Main-menu flag just got set, draw Main menu once
        if (FLAG_Menu && !prevMenu)
        {
			FLAG_LED  = false;
			FLAG_CAN  = false;
			FLAG_Disp = false;
			FLAG_DAC  = false;
			zoneActive[0] = 0;
			zoneActive[1] = 0;
			zoneActive[2] = 0;
			zoneActive[3] = 0;
            ShowMainMenu();
            prevMenu = true;
            prevBase = false;
        }

        // Otherwise, do nothing except yield
        osDelay(50);
    }
  /* USER CODE END 5 */
}

void StartTask02_Touch(void *argument)
{
  /* USER CODE BEGIN StartTask02_Touch */
  /* Infinite loop */
	zoneTaskHandles[0] = Task_LEDHandle;
	zoneTaskHandles[1] = Task_CANHandle;
	zoneTaskHandles[2] = Task_DispCANHandle;
	zoneTaskHandles[3] = Task_DACHandle;
	const char msg[] = "StartTask02_Touch \r\n";
	HAL_UART_Transmit(&huart4, (uint8_t*)msg, strlen(msg), HAL_MAX_DELAY);
  for(;;)
  {
	    ProcessMenuTouch();
	    //DebugTouch();
	    osDelay(50);
  }
  /* USER CODE END StartTask02_Touch */
}

void StartTask_LED(void *argument)
{
  /* USER CODE BEGIN StartTask_LED */
  /* Infinite loop */
	  for(;;)
	  {
	    if (FLAG_LED) {
	      HAL_GPIO_TogglePin(LED_GPIO_Port,LED_Pin);
	      osDelay(1000);
	    } else {
	    	HAL_GPIO_WritePin(LED_GPIO_Port,LED_Pin, 0);
	      osDelay(100);
	    }
	  }
  /* USER CODE END StartTask_LED */
}

void StartTask_CAN(void *argument)
{
  /* USER CODE BEGIN StartTask_CAN */
  /* Infinite loop */
    CAN_TxHeaderTypeDef txHdr = {
        .StdId             = 0x321,
        .IDE               = CAN_ID_STD,
        .RTR               = CAN_RTR_DATA,
        .DLC               = 5,
        .TransmitGlobalTime = DISABLE
    };
    uint8_t txData[8];
    uint32_t txMailbox;
    uint8_t groupId = (uint8_t)atoi(GROUP_ID);
    for (;;)
    {
        if (FLAG_CAN)
        {
            // Read internal temperature as float
            float tempC = getChipTemperature();

            //  Pack group ID (1 byte) + temperature (4-byte IEEE-754)
            txData[0] = groupId;
            memcpy(&txData[1], &tempC, sizeof(float));

            txData[5] = txData[6] = txData[7] = 0;

            // Transmit on CAN1
            if (HAL_CAN_AddTxMessage(&hcan1, &txHdr, txData, &txMailbox) != HAL_OK)
            {
            }
            osDelay(500);
        }
        else
        {
            osDelay(100);
        }
    }
  /* USER CODE END StartTask_CAN */
}

void StartTask_DispCAN(void *argument)
{
  /* USER CODE BEGIN StartTask_DispCAN */
  /* Infinite loop */
    uint8_t buf[8]; int len;

    for (;;)
    {
        if (FLAG_Disp)
        {
            //  Fetch the stored CAN frame (group + temperature)
            getLastCan(buf, &len);
            Draw_Task02_3_Screen(buf);
            osDelay(3000);
            FLAG_Disp = false;
            prevMenu = false;

            // debug UART
            char msg[64];
            int len = snprintf(msg,sizeof(msg),"%s %s\r\n","Task02-3", "OFF");
            HAL_UART_Transmit(&huart4,(uint8_t*)msg,len,HAL_MAX_DELAY);
        }
        else
        {
            osDelay(100);
        }
    }
  /* USER CODE END StartTask_DispCAN */
}

void StartTask_DAC(void *argument)
{
  /* USER CODE BEGIN StartTask_DAC */
  /* Infinite loop */
    uint32_t startTick, elapsed, remaining;
    uint8_t  noteIndex;
    char     uartBuf[64];

    static const uint16_t melody[] = {
        NOTE_C5, NOTE_B4, NOTE_A4, NOTE_G4,
        NOTE_F4, NOTE_E4, NOTE_D4, NOTE_C4
    };
    const uint8_t  MELODY_LEN = sizeof(melody) / sizeof(melody[0]);
    const uint32_t TOTAL_MS   = 10000U;  // 10 seconds
    const uint32_t NINE_MS    = 9000U;   // 9 seconds

    DWT_Delay_Init();
    HAL_DAC_Start(&hdac, DAC_CHANNEL_2);
    HAL_DAC_SetValue(&hdac, DAC_CHANNEL_2, DAC_ALIGN_12B_R, 0);

    for (;;)
    {
        if (FLAG_DAC)
        {
            int len = snprintf(uartBuf, sizeof(uartBuf),
                               "Task02_4: Start alarm 10s\r\n");
            HAL_UART_Transmit(&huart4, (uint8_t *)uartBuf, len, HAL_MAX_DELAY);

            startTick = HAL_GetTick();
            elapsed   = 0;
            noteIndex = 0;

            while (elapsed < TOTAL_MS)
            {
                elapsed = HAL_GetTick() - startTick;
                if (elapsed >= TOTAL_MS) break;
                remaining = TOTAL_MS - elapsed;

                if (remaining <= (TOTAL_MS - NINE_MS))
                {

                    len = snprintf(uartBuf, sizeof(uartBuf),
                                   "Task02_4: Remaining %4lu ms\r\n", remaining);
                    HAL_UART_Transmit(&huart4, (uint8_t *)uartBuf, len, HAL_MAX_DELAY);

                    playToneDAC(NOTE_C4, remaining);
                    break;
                }
                else
                {
                    len = snprintf(uartBuf, sizeof(uartBuf),
                                   "Task02_4: Remaining %4lu ms\r\n", remaining);
                    HAL_UART_Transmit(&huart4, (uint8_t *)uartBuf, len, HAL_MAX_DELAY);

                    playToneDAC(melody[noteIndex], 500U);

                    elapsed = HAL_GetTick() - startTick;
                    if (elapsed >= TOTAL_MS) break;

                    HAL_DAC_SetValue(&hdac, DAC_CHANNEL_2, DAC_ALIGN_12B_R, 0);
                    {
                        uint32_t t1 = HAL_GetTick();
                        while ((HAL_GetTick() - t1) < 50U) { }
                    }

                    noteIndex = (noteIndex + 1U) % MELODY_LEN;
                    elapsed   = HAL_GetTick() - startTick;
                }
            }

            HAL_DAC_SetValue(&hdac, DAC_CHANNEL_2, DAC_ALIGN_12B_R, 0);

            len = snprintf(uartBuf, sizeof(uartBuf),
                           "Task02_4: --> SleepMode\r\n");
            HAL_UART_Transmit(&huart4, (uint8_t *)uartBuf, len, HAL_MAX_DELAY);

            sleepMode_init();

            len = snprintf(uartBuf, sizeof(uartBuf),
                           "Task02_4: WOKE UP !\r\n");
            HAL_UART_Transmit(&huart4, (uint8_t *)uartBuf, len, HAL_MAX_DELAY);

            FLAG_DAC = false;

        }
        else
        {
            osDelay(100);
        }
    }
  /* USER CODE END StartTask_DAC */
}

void HAL_TIM_PeriodElapsedCallback(TIM_HandleTypeDef *htim)
{
  if (htim->Instance == TIM2)
  {
    HAL_IncTick();
  }
}

void Error_Handler(void)
{
  __disable_irq();
  while (1)
  {
  }
}

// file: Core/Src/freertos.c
/* USER CODE BEGIN Header */
/**
  ******************************************************************************
  * File Name          : freertos.c
  * Description        : Code for freertos applications
  ******************************************************************************
  * @attention
  *
  * Copyright (c) 2025 STMicroelectronics.
  * All rights reserved.
  *
  * This software is licensed under terms that can be found in the LICENSE file
  * in the root directory of this software component.
  * If no LICENSE file comes with this software, it is provided AS-IS.
  *
  ******************************************************************************
  */
/* USER CODE END Header */

#include "FreeRTOS.h"
#include "task.h"
#include "main.h"

/* USER CODE BEGIN VPORT_SUPPORT_TICKS_AND_SLEEP */
__weak void vPortSuppressTicksAndSleep( TickType_t xExpectedIdleTime )
{
  // Generated when configUSE_TICKLESS_IDLE == 2.
  // Function called in tasks.c (in portTASK_FUNCTION).
  // TO BE COMPLETED or TO BE REPLACED by a user one, overriding that weak one.
}
/* USER CODE END VPORT_SUPPORT_TICKS_AND_SLEEP */
